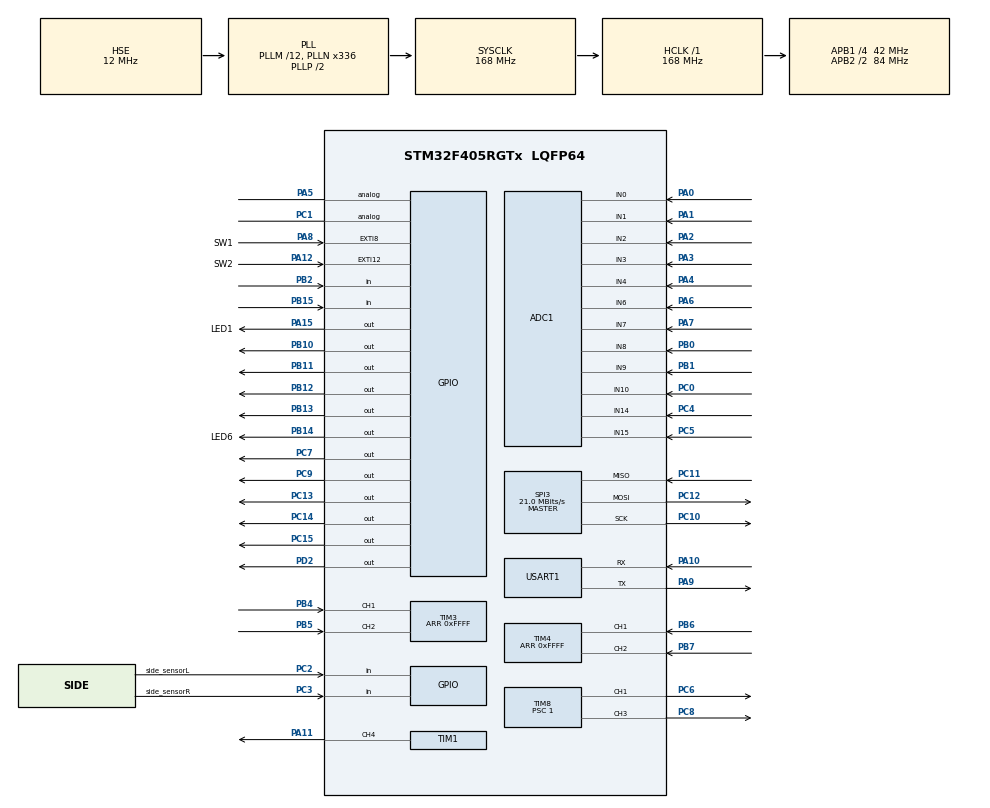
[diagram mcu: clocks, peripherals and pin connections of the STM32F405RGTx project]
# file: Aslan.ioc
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ADC1.Channel-0\#ChannelRegularConversion=ADC_CHANNEL_10
ADC1.Channel-1\#ChannelRegularConversion=ADC_CHANNEL_0
ADC1.Channel-10\#ChannelRegularConversion=ADC_CHANNEL_8
ADC1.Channel-11\#ChannelRegularConversion=ADC_CHANNEL_9
ADC1.Channel-2\#ChannelRegularConversion=ADC_CHANNEL_1
ADC1.Channel-3\#ChannelRegularConversion=ADC_CHANNEL_2
ADC1.Channel-4\#ChannelRegularConversion=ADC_CHANNEL_3
ADC1.Channel-5\#ChannelRegularConversion=ADC_CHANNEL_4
ADC1.Channel-6\#ChannelRegularConversion=ADC_CHANNEL_6
ADC1.Channel-7\#ChannelRegularConversion=ADC_CHANNEL_7
ADC1.Channel-8\#ChannelRegularConversion=ADC_CHANNEL_14
ADC1.Channel-9\#ChannelRegularConversion=ADC_CHANNEL_15
ADC1.ContinuousConvMode=ENABLE
ADC1.DMAContinuousRequests=ENABLE
ADC1.DiscontinuousConvMode=DISABLE
ADC1.EOCSelection=ADC_EOC_SEQ_CONV
ADC1.NbrOfConversion=12
ADC1.NbrOfConversionFlag=1
ADC1.Rank-0\#ChannelRegularConversion=1
ADC1.Rank-1\#ChannelRegularConversion=2
ADC1.Rank-10\#ChannelRegularConversion=11
ADC1.Rank-11\#ChannelRegularConversion=12
ADC1.Rank-2\#ChannelRegularConversion=3
ADC1.Rank-3\#ChannelRegularConversion=4
ADC1.Rank-4\#ChannelRegularConversion=5
ADC1.Rank-5\#ChannelRegularConversion=6
ADC1.Rank-6\#ChannelRegularConversion=7
ADC1.Rank-7\#ChannelRegularConversion=8
ADC1.Rank-8\#ChannelRegularConversion=9
ADC1.Rank-9\#ChannelRegularConversion=10
ADC1.SamplingTime-0\#ChannelRegularConversion=ADC_SAMPLETIME_144CYCLES
ADC1.SamplingTime-1\#ChannelRegularConversion=ADC_SAMPLETIME_144CYCLES
ADC1.SamplingTime-10\#ChannelRegularConversion=ADC_SAMPLETIME_144CYCLES
ADC1.SamplingTime-11\#ChannelRegularConversion=ADC_SAMPLETIME_144CYCLES
ADC1.SamplingTime-2\#ChannelRegularConversion=ADC_SAMPLETIME_112CYCLES
ADC1.SamplingTime-3\#ChannelRegularConversion=ADC_SAMPLETIME_144CYCLES
ADC1.SamplingTime-4\#ChannelRegularConversion=ADC_SAMPLETIME_144CYCLES
ADC1.SamplingTime-5\#ChannelRegularConversion=ADC_SAMPLETIME_144CYCLES
ADC1.SamplingTime-6\#ChannelRegularConversion=ADC_SAMPLETIME_144CYCLES
ADC1.SamplingTime-7\#ChannelRegularConversion=ADC_SAMPLETIME_144CYCLES
ADC1.SamplingTime-8\#ChannelRegularConversion=ADC_SAMPLETIME_144CYCLES
ADC1.SamplingTime-9\#ChannelRegularConversion=ADC_SAMPLETIME_144CYCLES
ADC1.ScanConvMode=ENABLE
ADC1.master=1
Dma.ADC1.0.Direction=DMA_PERIPH_TO_MEMORY
Dma.ADC1.0.FIFOMode=DMA_FIFOMODE_DISABLE
Dma.ADC1.0.Instance=DMA2_Stream0
Dma.ADC1.0.MemDataAlignment=DMA_MDATAALIGN_WORD
Dma.ADC1.0.MemInc=DMA_MINC_ENABLE
Dma.ADC1.0.Mode=DMA_CIRCULAR
Dma.ADC1.0.PeriphDataAlignment=DMA_PDATAALIGN_WORD
Dma.ADC1.0.PeriphInc=DMA_PINC_DISABLE
Dma.ADC1.0.Priority=DMA_PRIORITY_LOW
Dma.Request0=ADC1
Mcu.Family=STM32F4
Mcu.Name=STM32F405RGTx
Mcu.Package=LQFP64
NVIC.DMA2_Stream0_IRQn=true\:0\:0\:false\:false\:true\:false\:true\:true
NVIC.EXTI15_10_IRQn=true\:0\:0\:false\:false\:true\:true\:true\:true
NVIC.EXTI9_5_IRQn=true\:0\:0\:false\:false\:true\:true\:true\:true
NVIC.PriorityGroup=NVIC_PRIORITYGROUP_4
NVIC.TIM6_DAC_IRQn=true\:0\:0\:false\:false\:true\:true\:true\:true
NVIC.TIM7_IRQn=true\:0\:0\:false\:false\:true\:true\:true\:true
PA0-WKUP.Signal=SharedAnalog_PA0
PA1.Signal=SharedAnalog_PA1
PA10.Mode=Asynchronous
PA10.Signal=USART1_RX
PA11.Signal=S_TIM1_CH4
PA12.GPIO_Label=SW2
PA12.GPIO_PuPd=GPIO_PULLUP
PA12.Signal=GPXTI12
PA13.Signal=SYS_JTMS-SWDIO
PA14.Signal=SYS_JTCK-SWCLK
PA15.GPIO_Label=LED1
PA15.Signal=GPIO_Output
PA2.Signal=SharedAnalog_PA2
PA3.Signal=SharedAnalog_PA3
PA4.Signal=SharedAnalog_PA4
PA5.Signal=GPIO_Analog
PA6.Signal=SharedAnalog_PA6
PA7.Signal=SharedAnalog_PA7
PA8.GPIO_Label=SW1
PA8.GPIO_PuPd=GPIO_PULLUP
PA8.Signal=GPXTI8
PA9.Mode=Asynchronous
PA9.Signal=USART1_TX
PB0.Signal=SharedAnalog_PB0
PB1.Signal=SharedAnalog_PB1
PB10.Signal=GPIO_Output
PB11.Signal=GPIO_Output
PB12.Signal=GPIO_Output
PB13.Signal=GPIO_Output
PB14.GPIO_Label=LED6
PB14.Signal=GPIO_Output
PB15.Signal=GPIO_Input
PB2.Signal=GPIO_Input
PB3.Signal=SYS_JTDO-SWO
PB4.Signal=S_TIM3_CH1
PB5.Signal=S_TIM3_CH2
PB6.Signal=S_TIM4_CH1
PB7.Signal=S_TIM4_CH2
PB8.Signal=I2C1_SCL
PB9.Signal=I2C1_SDA
PC0.Signal=SharedAnalog_PC0
PC1.Signal=GPIO_Analog
PC10.Mode=Full_Duplex_Master
PC10.Signal=SPI3_SCK
PC11.Mode=Full_Duplex_Master
PC11.Signal=SPI3_MISO
PC12.Mode=Full_Duplex_Master
PC12.Signal=SPI3_MOSI
PC13-ANTI_TAMP.Signal=GPIO_Output
PC14-OSC32_IN.Signal=GPIO_Output
PC15-OSC32_OUT.Signal=GPIO_Output
PC2.GPIO_Label=side_sensorL
PC2.Signal=GPIO_Input
PC3.GPIO_Label=side_sensorR
PC3.Signal=GPIO_Input
PC4.Signal=SharedAnalog_PC4
PC5.Signal=SharedAnalog_PC5
PC6.Signal=S_TIM8_CH1
PC7.Signal=GPIO_Output
PC8.Signal=S_TIM8_CH3
PC9.Signal=GPIO_Output
PD2.Signal=GPIO_Output
PH0-OSC_IN.Mode=HSE-External-Oscillator
PH0-OSC_IN.Signal=RCC_OSC_IN
PH1-OSC_OUT.Mode=HSE-External-Oscillator
PH1-OSC_OUT.Signal=RCC_OSC_OUT
ProjectManager.HeapSize=0x200
ProjectManager.StackSize=0x400
ProjectManager.TargetToolchain=STM32CubeIDE
RCC.48MHZClocksFreq_Value=84000000
RCC.AHBFreq_Value=168000000
RCC.APB1CLKDivider=RCC_HCLK_DIV4
RCC.APB1Freq_Value=42000000
RCC.APB1TimFreq_Value=84000000
RCC.APB2CLKDivider=RCC_HCLK_DIV2
RCC.APB2Freq_Value=84000000
RCC.APB2TimFreq_Value=168000000
RCC.CortexFreq_Value=168000000
RCC.HCLKFreq_Value=168000000
RCC.HSE_VALUE=12000000
RCC.HSI_VALUE=16000000
RCC.LSE_VALUE=32768
RCC.PLLM=12
RCC.PLLN=336
RCC.PLLSourceVirtual=RCC_PLLSOURCE_HSE
RCC.SYSCLKFreq_VALUE=168000000
RCC.SYSCLKSource=RCC_SYSCLKSOURCE_PLLCLK
RCC.VCOOutputFreq_Value=336000000
SH.S_TIM1_CH4.0=TIM1_CH4,PWM Generation4 CH4
SH.S_TIM3_CH1.0=TIM3_CH1,Encoder_Interface
SH.S_TIM3_CH2.0=TIM3_CH2,Encoder_Interface
SH.S_TIM4_CH1.0=TIM4_CH1,Encoder_Interface
SH.S_TIM4_CH2.0=TIM4_CH2,Encoder_Interface
SH.S_TIM8_CH1.0=TIM8_CH1,PWM Generation1 CH1
SH.S_TIM8_CH3.0=TIM8_CH3,PWM Generation3 CH3
SH.SharedAnalog_PA0.0=GPIO_Analog
SH.SharedAnalog_PA0.1=ADC1_IN0,IN0
SH.SharedAnalog_PA1.0=GPIO_Analog
SH.SharedAnalog_PA1.1=ADC1_IN1,IN1
SH.SharedAnalog_PA2.0=GPIO_Analog
SH.SharedAnalog_PA2.1=ADC1_IN2,IN2
SH.SharedAnalog_PA3.0=GPIO_Analog
SH.SharedAnalog_PA3.1=ADC1_IN3,IN3
SH.SharedAnalog_PA4.0=GPIO_Analog
SH.SharedAnalog_PA4.1=ADC1_IN4,IN4
SH.SharedAnalog_PA6.0=GPIO_Analog
SH.SharedAnalog_PA6.1=ADC1_IN6,IN6
SH.SharedAnalog_PA7.0=GPIO_Analog
SH.SharedAnalog_PA7.1=ADC1_IN7,IN7
SH.SharedAnalog_PB0.0=GPIO_Analog
SH.SharedAnalog_PB0.1=ADC1_IN8,IN8
SH.SharedAnalog_PB1.0=GPIO_Analog
SH.SharedAnalog_PB1.1=ADC1_IN9,IN9
SH.SharedAnalog_PC0.0=GPIO_Analog
SH.SharedAnalog_PC0.1=ADC1_IN10,IN10
SH.SharedAnalog_PC4.0=GPIO_Analog
SH.SharedAnalog_PC4.1=ADC1_IN14,IN14
SH.SharedAnalog_PC5.0=GPIO_Analog
SH.SharedAnalog_PC5.1=ADC1_IN15,IN15
SPI3.CalculateBaudRate=21.0 MBits/s
SPI3.Direction=SPI_DIRECTION_2LINES
SPI3.Mode=SPI_MODE_MASTER
SPI3.VirtualType=VM_MASTER
TIM1.Channel-PWM\ Generation4\ CH4=TIM_CHANNEL_4
TIM1.Period=4199
TIM3.CounterMode=TIM_COUNTERMODE_UP
TIM3.EncoderMode=TIM_ENCODERMODE_TI12
TIM3.IC1Filter=5
TIM3.IC1Polarity=TIM_ICPOLARITY_FALLING
TIM3.IC2Filter=5
TIM3.IC2Polarity=TIM_ICPOLARITY_FALLING
TIM3.Period=0xFFFF
TIM4.CounterMode=TIM_COUNTERMODE_DOWN
TIM4.EncoderMode=TIM_ENCODERMODE_TI12
TIM4.IC1Filter=5
TIM4.IC1Polarity=TIM_ICPOLARITY_FALLING
TIM4.IC2Filter=5
TIM4.IC2Polarity=TIM_ICPOLARITY_FALLING
TIM4.Period=0xFFFF
TIM6.AutoReloadPreload=TIM_AUTORELOAD_PRELOAD_DISABLE
TIM6.Period=839
TIM6.Prescaler=99
TIM7.Period=99
TIM7.Prescaler=84
TIM8.Channel-PWM\ Generation1\ CH1=TIM_CHANNEL_1
TIM8.Channel-PWM\ Generation3\ CH3=TIM_CHANNEL_3
TIM8.Period=1399
TIM8.Prescaler=1
USART1.VirtualMode=VM_ASYNC
VP_TIM6_VS_ClockSourceINT.Mode=Enable_Timer
VP_TIM7_VS_ClockSourceINT.Mode=Enable_Timer
VP_TIM8_VS_ClockSourceINT.Mode=Internal
board=custom

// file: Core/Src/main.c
/* USER CODE BEGIN Header */
/**
 ******************************************************************************
 * @file           : main.c
 * @brief          : Main program body
 ******************************************************************************
 * @attention
 *
 * Copyright (c) 2025 STMicroelectronics.
 * All rights reserved.
 *
 * This software is licensed under terms that can be found in the LICENSE file
 * in the root directory of this software component.
 * If no LICENSE file comes with this software, it is provided AS-IS.
 *
 ******************************************************************************
 */
/* USER CODE END Header */
#include "main.h"
#include "adc.h"
#include "dma.h"
#include "spi.h"
#include "tim.h"
#include "usart.h"
#include "gpio.h"

/* USER CODE BEGIN Includes */
#include "stdio.h"
#include <stdbool.h>
#include <math.h>
#include <string.h>
#include <SpeedControl.h>

#include "motor.h"
#include "Encoder.h"
#include "Buttan.h"
#include "FullColorLED.h"
#include "RunningSection.h"
#include "TrackingPart.h"
#include "TrackingSensor.h"
#include "IMU20649.h"
#include "log.h"
#include "flash2.h"

extern DMA_HandleTypeDef hdma_adc1; // DMAハンドルのextern宣言を追加
extern SPI_HandleTypeDef hspi3;
/* USER CODE END Includes */

/* USER CODE BEGIN PV */
uint32_t adc_values[ADC_NUM]; // ADC値の配列を有効化
// uint32_t white_ref[ADC_CHANNEL_COUNT];
// uint32_t black_ref[ADC_CHANNEL_COUNT];
// uint16_t scaled_values[ADC_CHANNEL_COUNT];
uint32_t timer, timer1, timer2;

bool calibration_mode = true; // キャリブレーション中フラグ
int lion = 0;				  // mode変数を初期化
int bayado = -1;
bool watchdog_reset_detected = false; // Watchdogリセット検出フラグ
int16_t gx, gy, gz;
uint16_t cnt, cnt2 = 0;
uint16_t sw, sw2 = 0;
static uint32_t imu_test_last_print_ms = 0;

extern bool Start_Flag;
extern bool Stop_Flag;
extern int8_t trace_flag;
extern uint8_t Marker_State;
extern volatile uint32_t time_ms;

/* USER CODE END PV */

void SystemClock_Config(void);
/* USER CODE BEGIN PFP */
// reo
/* USER CODE END PFP */

/* USER CODE BEGIN 0 */
int __io_putchar(int ch)
{
	HAL_UART_Transmit(&huart1, (uint8_t *)&ch, 1, HAL_MAX_DELAY);
	return ch;
}

void HAL_TIM_PeriodElapsedCallback(TIM_HandleTypeDef *htim)
{
	if (htim->Instance == TIM6)
	{ // 1ms
		timer++;
		timer2++;

		Encoder_Update();
		Sensor_Update();
		read_gyro_data();  // グローバル変数 xg, yg, zg を更新
		read_accel_data(); // グローバル変数 xa, ya, za を更新

		ControlLineTracking();
		TraceFlip();
		motorCtrlFlip();
		Fan_Ctrl();
		if (trace_flag)
		{
			Log_CalculateAndSave();
		}

		//		updateSideSensorStatus();
						   //		S_Sensor();
	}
	if (htim->Instance == TIM7)
	{ // 0.1ms
		timer1++;

		StorageBuffer();
		CourseOut();
		//		CourseOut();

		//		Encoder_Update();
		//				Sensor_Update();
		//
		//				ControlLineTracking();
		//				TraceFlip();
		//				runningFlip();
		//				motorCtrlFlip();
		//				updateSideSensorStatus();
		//
		//						CourseOut();
	}
}
void Init(void)
{
	// Watchdogリセットの検出
	if (__HAL_RCC_GET_FLAG(RCC_FLAG_IWDGRST))
	{
		watchdog_reset_detected = true;
		__HAL_RCC_CLEAR_RESET_FLAGS(); // リセットフラグをクリア
	}

	// 長い待機中もWatchdogリフレッシュ（誤判定防止）
	for (int i = 0; i < 20; i++)
	{
		HAL_Delay(100);
		if (IWDG->SR == 0)
			IWDG->KR = 0xAAAA; // Watchdog有効なら定期的にリフレッシュ
	}
	LED(LED_RED);
	ADC_Init();
	Encoder_Init();
	HAL_TIM_Base_Start_IT(&htim6); // 1msタイマ開始
	HAL_TIM_Base_Start_IT(&htim7); // 1msタイマ開始
	Motor_Init();
	IMU_Init();
	Log_Init();
	IMU_CalibrateGyro();
	LED(LED_BLUE);
	LED(LED_WHITE);

	// Watchdogリセット後は安全のためキャリブレーションをスキップ
	if (!watchdog_reset_detected)
	{
		Calibration(); // キャリブレーションモード
	}
	else
	{
		// フリーズから復帰したことを視覚的に通知
		for (int i = 0; i < 5; i++)
		{
			LED(LED_RED);
			HAL_Delay(100);
			LED(LED_OFF);
			HAL_Delay(100);
		}
	}

	LED(LED_BLUE);
	// 初期化後の待機時間（Watchdogリフレッシュ付き）
	for (int i = 0; i < 10; i++)
	{
		HAL_Delay(100);
		if (IWDG->SR == 0)
			IWDG->KR = 0xAAAA;
	}

	// Independent Watchdog の初期化（完全に無効化）
	// 予期しないリセットを防ぐため、Watchdogは無効化
	// LSI = 32kHz, Prescaler = 64 → 約500Hz
	// Reload = 750 → 1.5秒（誤判定防止のため1秒より余裕を持たせる）
	// IWDG->KR = 0x5555; // レジスタアクセス許可
	// IWDG->PR = 0x04;   // Prescaler = 64 (0x04)
	// IWDG->RLR = 750;   // Reload value = 750 (約1.5秒)
	// IWDG->KR = 0xCCCC; // Watchdog起動
	// IWDG->KR = 0xAAAA; // Watchdogリフレッシュ
}

/* USER CODE END 0 */

int main(void)
{

  /* MCU Configuration--------------------------------------------------------*/

  /* Reset of all peripherals, Initializes the Flash interface and the Systick. */
  HAL_Init();

  /* Configure the system clock */
  SystemClock_Config();

  /* Initialize all configured peripherals */
  MX_GPIO_Init();
  MX_DMA_Init();
  MX_USART1_UART_Init();
  MX_ADC1_Init();
  MX_TIM8_Init();
  MX_TIM3_Init();
  MX_TIM4_Init();
  MX_TIM6_Init();
  MX_TIM7_Init();
  MX_TIM1_Init();
  MX_SPI3_Init();
  /* USER CODE BEGIN 2 */
	Init();

  /* USER CODE END 2 */

  /* Infinite loop */
  /* USER CODE BEGIN WHILE */

	while (1)
	{
		// Watchdogをリフレッシュ（trace_flag==1の時のみ有効）
		if (trace_flag == 1)
		{
			IWDG->KR = 0xAAAA;
		}

		// Watchdogリセット後は自動的に停止モードへ
		if (watchdog_reset_detected && bayado == -1)
		{
			bayado = 6; // 停止モード
			watchdog_reset_detected = false;
			//			printf("[WARNING] Watchdog reset detected. System stopped safely.\r\n");
		}

		//		// --- 右ボタン: lionをCaseとして確定 ---
		if (StatusR('R') == 2 && sw2 == 0)
		{
			timer2 = 0;
			sw2 = 1;
		}
		if (StatusR('R') == 2 && timer2 > 20 && sw2 == 1)
		{
			sw2 = 2;
		}
		if (timer2 > 40 && sw2 == 1)
		{
			sw2 = 0;
		}
		if (StatusR('R') == 0 && sw2 == 2)
		{
			// 走行モード確定時のみ状態を初期化
			if (lion == 4 || lion == 5)
			{
				Marker_State = 0;
				Start_Flag = false;
				Stop_Flag = false;

				ResetAllTrackingVariables();
				Log_Reset();
				Reset_S_Sensor_State();
			}

			timer2 = 0;
			// 3秒待機中もWatchdogリフレッシュ（誤判定防止）
			for (int i = 0; i < 30; i++)
			{
				HAL_Delay(100);
				IWDG->KR = 0xAAAA;
			}
			bayado = lion; // モードを確定！

			sw2 = 0;
		}
		if (StatusL('L') == 1 && sw == 0)
		{
			timer = 0;
			sw = 1;
		}
		if (StatusL('L') == 1 && timer > 20 && sw == 1)
		{
			sw = 2; // 長押し中
		}
		if (timer > 40 && sw == 1)
		{
			sw = 0; // チャタリング防止
		}
		if (StatusL('L') == 0 && sw == 2)
		{
			lion++;
			if (lion >= 8)
				lion = 0;
			sw = 0;
		}

		switch (lion)
		{
		case 0:
			LED(LED_RED);
			break;
		case 1:
			LED(LED_BLUE);
			break;
		case 2:
			LED(LED_GREEN);
			break;
		case 3:
			LED(LED_CYAN);
			break;
		case 4:
			LED(LED_MAGENTA);
			break;
		case 5:
			LED(LED_YELLOW);
			break;
		case 6:
			LED(LED_WHITE);
			break;
		case 7:
			LED(LED_OFF);
			stopTracking();
			break;
		default:
			break;
		}

		switch (bayado)
		{
		case 0:
			if ((timer - imu_test_last_print_ms) >= 100)
			{
				imu_test_last_print_ms = timer;

				float gx_dps_raw = (float)xg / GYRO_SENS_LSB_PER_DPS;
				float gy_dps_raw = (float)yg / GYRO_SENS_LSB_PER_DPS;
				float gz_dps_raw = (float)zg / GYRO_SENS_LSB_PER_DPS;
				float gz_dps_corr = ((float)zg - zg_offset) / GYRO_SENS_LSB_PER_DPS;

				float ax_g = (float)xa / ACCEL_SENS_LSB_PER_G;
				float ay_g = (float)ya / ACCEL_SENS_LSB_PER_G;
				float az_g = (float)za / ACCEL_SENS_LSB_PER_G;
				float acc_norm_g = sqrtf(ax_g * ax_g + ay_g * ay_g + az_g * az_g);

				printf("IMU RAW  GYRO[LSB] X:%d Y:%d Z:%d | ACC[LSB] X:%d Y:%d Z:%d\r\n",
					   xg, yg, zg, xa, ya, za);
				printf("IMU CORR GYRO[dps] X:%.3f Y:%.3f Zraw:%.3f Zcorr:%.3f(off=%.3f) | ACC[g] X:%.3f Y:%.3f Z:%.3f | |a|:%.3f\r\n",
					   gx_dps_raw, gy_dps_raw, gz_dps_raw, gz_dps_corr, zg_offset,
					   ax_g, ay_g, az_g, acc_norm_g);
			}
			break;
		case 1:
			Log_PrintRunData_To_Serial();

			bayado = -1;
			break;
		case 2:
			printf("Mode 2: Writing data...\r\n");
			WriteData();
			bayado = -1;
			break;
		case 3:
			//			FanMotor(4000);
			//			if (timer2 >= 6000) {
			//				setTarget(1.8);
			//				startTracking(); //cyan
			//				S_Sensor();
			Log_PrintData_To_Serial();
			//			Log_Test_Read_And_Print();
			bayado = -1; // 1回実行したらモードを終了

			break;
		case 4:
			FanMotor(4000);
			if (timer2 >= 6000)
			{
				setTarget(2.1);
				startTracking(); // cyan
				S_Sensor();

				// 現在の左右速度とエンコーダ値を表示
				//				float current_speed_l, current_speed_r;
				//				int16_t enc_l, enc_r;
				//				getCurrentVelocity(&current_speed_l, &current_speed_r);
				//				getEncoderCnt(&enc_l, &enc_r);
				//				extern int16_t mon_rev_l, mon_rev_r;
				//				float center_speed = (current_speed_l + current_speed_r) / 2.0f;
				//				printf("L:%.3f R:%.3f | Center:%.3f | EncL:%d EncR:%d | PWML:%d PWMR:%d | Target:%.1f\r\n",
				//					   current_speed_l, current_speed_r, center_speed, enc_l, enc_r, mon_rev_l, mon_rev_r, getTarget());
			}
			break;
		case 5:
			FanMotor(4000);
			if (timer2 >= 6000)
			{
				setTarget(2.9);
				startTracking(); // cyan
				S_Sensor();

				// 現在の左右速度とエンコーダ値を表示
				//							float current_speed_l, current_speed_r;
				//							int16_t enc_l, enc_r;
				//							getCurrentVelocity(&current_speed_l, &current_speed_r);
				//							getEncoderCnt(&enc_l, &enc_r);
				//							extern int16_t mon_rev_l, mon_rev_r;
				//							float center_speed = (current_speed_l + current_speed_r) / 2.0f;
				//							printf("L:%.3f R:%.3f | Center:%.3f | EncL:%d EncR:%d | PWML:%d PWMR:%d | Target:%.1f\r\n",
				//								   current_speed_l, current_speed_r, center_speed, enc_l, enc_r, mon_rev_l, mon_rev_r, getTarget());
			}
			break;
		case 6:
			stopTracking();
			setMotor(0, 0);
			FanMotor(0);
			break;
		case 7:
			eraseFlash();
			printf("Flash memory erased.\r\n");
			bayado = -1;
			break;
		default:

			break;
		}
    /* USER CODE END WHILE */

	}
}

void SystemClock_Config(void)
{
  RCC_OscInitTypeDef RCC_OscInitStruct = {0};
  RCC_ClkInitTypeDef RCC_ClkInitStruct = {0};

  /** Configure the main internal regulator output voltage
  */
  __HAL_RCC_PWR_CLK_ENABLE();
  __HAL_PWR_VOLTAGESCALING_CONFIG(PWR_REGULATOR_VOLTAGE_SCALE1);

  /** Initializes the RCC Oscillators according to the specified parameters
  * in the RCC_OscInitTypeDef structure.
  */
  RCC_OscInitStruct.OscillatorType = RCC_OSCILLATORTYPE_HSE;
  RCC_OscInitStruct.HSEState = RCC_HSE_ON;
  RCC_OscInitStruct.PLL.PLLState = RCC_PLL_ON;
  RCC_OscInitStruct.PLL.PLLSource = RCC_PLLSOURCE_HSE;
  RCC_OscInitStruct.PLL.PLLM = 12;
  RCC_OscInitStruct.PLL.PLLN = 336;
  RCC_OscInitStruct.PLL.PLLP = RCC_PLLP_DIV2;
  RCC_OscInitStruct.PLL.PLLQ = 4;
  if (HAL_RCC_OscConfig(&RCC_OscInitStruct) != HAL_OK)
  {
    Error_Handler();
  }

  /** Initializes the CPU, AHB and APB buses clocks
  */
  RCC_ClkInitStruct.ClockType = RCC_CLOCKTYPE_HCLK|RCC_CLOCKTYPE_SYSCLK
                              |RCC_CLOCKTYPE_PCLK1|RCC_CLOCKTYPE_PCLK2;
  RCC_ClkInitStruct.SYSCLKSource = RCC_SYSCLKSOURCE_PLLCLK;
  RCC_ClkInitStruct.AHBCLKDivider = RCC_SYSCLK_DIV1;
  RCC_ClkInitStruct.APB1CLKDivider = RCC_HCLK_DIV4;
  RCC_ClkInitStruct.APB2CLKDivider = RCC_HCLK_DIV2;

  if (HAL_RCC_ClockConfig(&RCC_ClkInitStruct, FLASH_LATENCY_5) != HAL_OK)
  {
    Error_Handler();
  }
}

void Error_Handler(void)
{
	__disable_irq();
	while (1)
	{
	}
}
